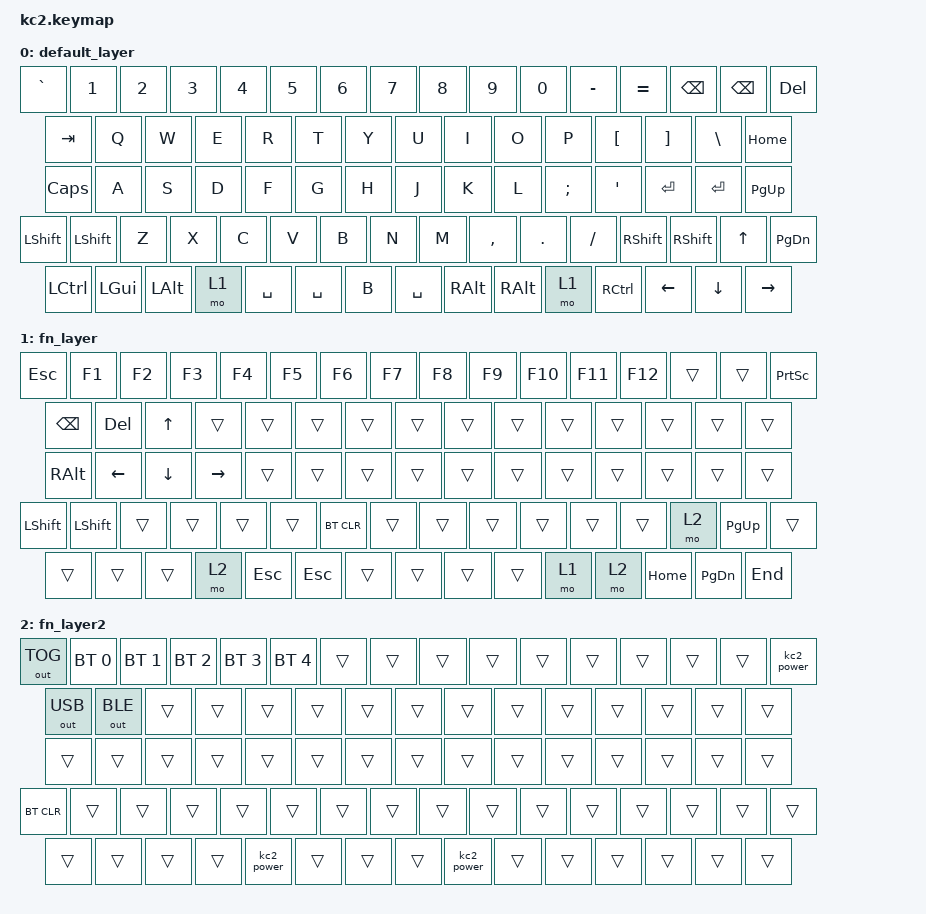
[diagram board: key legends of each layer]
#include <behaviors.dtsi>
#include <dt-bindings/zmk/bt.h>
#include <dt-bindings/zmk/keys.h>
#include <dt-bindings/zmk/outputs.h>

/ {
    behaviors {
        kc2_power: kc2pwr {
            compatible = "kc2,behavior-power-off";
            #binding-cells = <0>;
        };
    };

    keymap {
        compatible = "zmk,keymap";

        default_layer {
            bindings = <
                &kp GRAVE &kp N1 &kp N2 &kp N3 &kp N4 &kp N5 &kp N6	&kp N7 &kp N8 &kp N9 &kp N0 &kp MINUS &kp EQUAL &kp BSPC &kp BSPC &kp DEL
                &kp TAB &kp Q &kp W &kp E &kp R &kp T	&kp Y &kp U &kp I &kp O &kp P &kp LBKT &kp RBKT &kp BSLH &kp HOME
                &kp CAPS &kp A &kp S &kp D &kp F &kp G	&kp H &kp J &kp K &kp L &kp SEMI &kp SQT &kp RET &kp RET &kp PG_UP
                &kp LSHFT &kp LSHFT &kp Z &kp X &kp C &kp V &kp B	&kp N &kp M &kp COMMA &kp DOT &kp FSLH &kp RSHFT &kp RSHFT &kp UP &kp PG_DN
                &kp LCTRL &kp LGUI &kp LALT &mo 1 &kp SPACE &kp SPACE	&kp B &kp SPACE &kp RALT &kp RALT &mo 1 &kp RCTRL &kp LEFT &kp DOWN &kp RIGHT
            >;
        };

        fn_layer {
            bindings = <
                &kp ESC &kp F1 &kp F2 &kp F3 &kp F4 &kp F5 &kp F6	&kp F7 &kp F8 &kp F9 &kp F10 &kp F11 &kp F12 &trans &trans &kp PSCRN
                &kp BSPC &kp DEL &kp UP &trans &trans &trans	&trans &trans &trans &trans &trans &trans &trans &trans &trans
                &kp RALT &kp LEFT &kp DOWN &kp RIGHT &trans &trans	&trans &trans &trans &trans &trans &trans &trans &trans &trans
                &kp LSHFT &kp LSHFT &trans &trans &trans &trans &bt BT_CLR	&trans &trans &trans &trans &trans &trans &mo 2 &kp PG_UP &trans
                &trans &trans &trans &mo 2 &kp ESC &kp ESC	&trans &trans &trans &trans &mo 1 &mo 2 &kp HOME &kp PG_DN &kp END
            >;
        };

        fn_layer2 {
            bindings = <
                &out OUT_TOG &bt BT_SEL 0 &bt BT_SEL 1 &bt BT_SEL 2 &bt BT_SEL 3 &bt BT_SEL 4 &trans	&trans &trans &trans &trans &trans &trans &trans &trans &kc2_power
                &out OUT_USB &out OUT_BLE &trans &trans &trans &trans	&trans &trans &trans &trans &trans &trans &trans &trans &trans
                &trans &trans &trans &trans &trans &trans	&trans &trans &trans &trans &trans &trans &trans &trans &trans
                &bt BT_CLR &trans &trans &trans &trans &trans &trans	&trans &trans &trans &trans &trans &trans &trans &trans &trans
                &trans &trans &trans &trans &kc2_power &trans	&trans &trans &kc2_power &trans &trans &trans &trans &trans &trans
            >;
        };
    };
};
